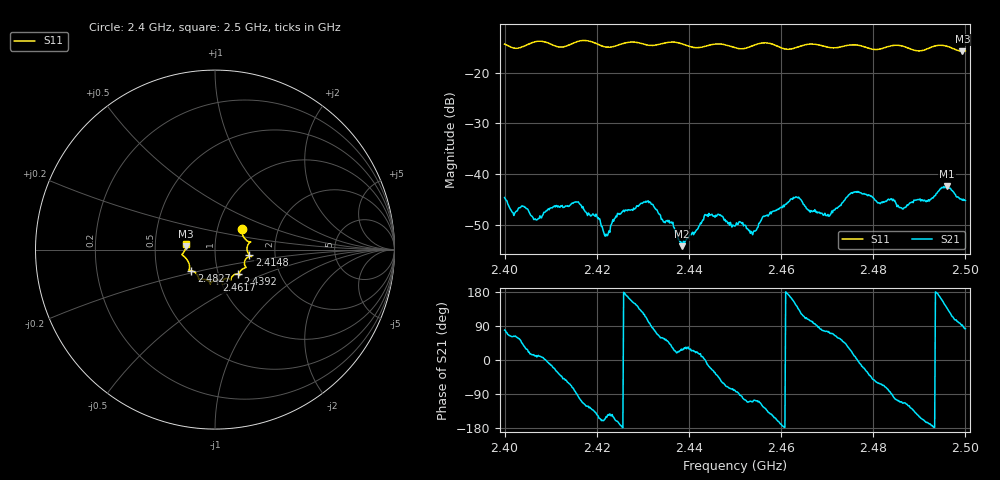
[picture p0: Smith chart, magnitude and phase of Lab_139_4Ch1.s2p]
# Hz S RI R 50
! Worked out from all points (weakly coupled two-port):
!   601 points, 2.4 GHz to 2.5 GHz, reference 50 ohm
!   highest |S21| = -42.45 dB at 2.496 GHz (marker M1); lowest = -54.2 dB at 2.4385 GHz (marker M2)
!   lowest |S11| = -15.8 dB at 2.4993 GHz (marker M3), VSWR 1.39, Z = 36.1 + j1.44 ohm
!   |S11| at or under -10 dB: start of sweep to end of sweep
!   S12 and S22 are empty: the file has one direction only
!   S11 on the Smith chart (normalised r, x): 2.4 GHz: 1.31, +0.32; 2.4148 GHz: 1.47, -0.09; 2.4392 GHz: 1.24, -0.35; 2.4617 GHz: 0.96, -0.34; 2.4827 GHz: 0.75, -0.18; 2.5 GHz: 0.72, +0.05
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2.4e9  0.1516 0.116  0.00113 0.00576  0 0  0 0
2.406833e9  0.1979 0.0427  0.00345 0.00072  0 0  0 0
2.414833e9  0.1921 -0.0308  0.00142 -0.00492  0 0  0 0
2.416667e9  0.203 -0.0391  -0.00152 -0.00462  0 0  0 0
2.422e9  0.1692 -0.0559  -0.0022 -0.00129  0 0  0 0
2.430167e9  0.1592 -0.1057  -0.00267 0.00457  0 0  0 0
2.433333e9  0.137 -0.1302  0.00167 0.00379  0 0  0 0
2.4385e9  0.1331 -0.1385  0.00175 0.000854  0 0  0 0
2.439167e9  0.1286 -0.1364  0.00188 0.0011  0 0  0 0
2.443833e9  0.0896 -0.1601  0.00386 -0.000518  0 0  0 0
2.45e9  0.0705 -0.1611  0.00052 -0.00303  0 0  0 0
2.454167e9  0.0391 -0.1823  -0.000758 -0.00264  0 0  0 0
2.461667e9  0.00864 -0.1696  -0.00529 0.000813  0 0  0 0
2.466667e9  -0.026 -0.1895  -0.000823 0.0042  0 0  0 0
2.470333e9  -0.0403 -0.1727  0.000971 0.00371  0 0  0 0
2.476167e9  -0.0891 -0.165  0.00662 0.000856  0 0  0 0
2.482667e9  -0.1326 -0.1175  0.00172 -0.00511  0 0  0 0
2.483333e9  -0.1382 -0.1168  0.000964 -0.00557  0 0  0 0
2.486667e9  -0.1437 -0.1099  -0.00181 -0.00426  0 0  0 0
2.496e9  -0.1803 -0.0226  -0.00552 0.00514  0 0  0 0
2.499333e9  -0.1613 0.0194  -0.000242 0.0055  0 0  0 0
2.5e9  -0.1609 0.0313  0.000714 0.00542  0 0  0 0
